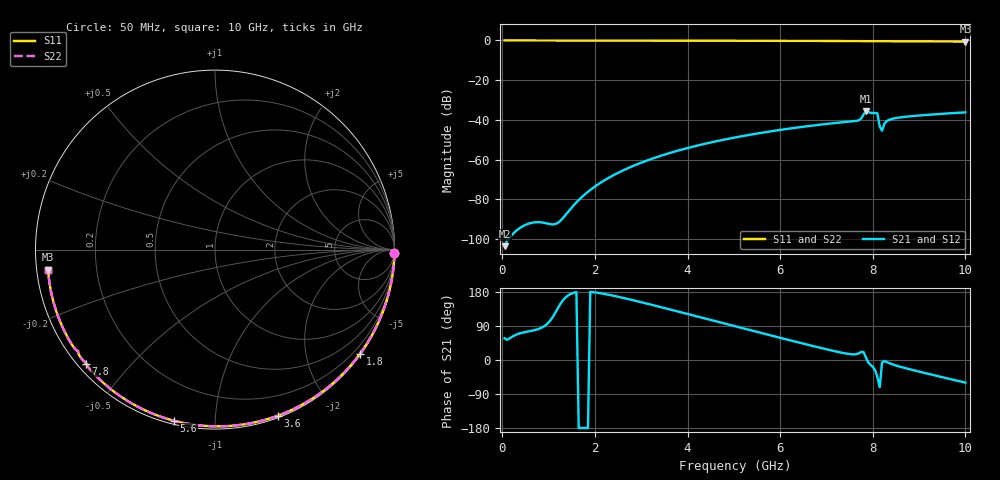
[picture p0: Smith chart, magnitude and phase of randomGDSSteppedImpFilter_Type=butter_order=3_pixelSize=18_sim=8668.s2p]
! freq	dB(S11)	phase(S11)	dB(S12)	phase(S12)
!  dB(S21)	phase(S21)	dB(S22)	phase(S22)
!S-par simulation data
#  GHz  S  DB  R 50
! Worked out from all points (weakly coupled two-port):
!   200 points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, 50 MHz to 10 GHz, reference 50 ohm
!   highest |S21| = -35.67 dB at 7.85 GHz (marker M1); lowest = -103.6 dB at 50 MHz (marker M2)
!   lowest |S11| = -0.6 dB at 10 GHz (marker M3), VSWR 30.66, Z = 1.64 - j3.01 ohm
!   |S11| at or under -10 dB: nowhere
!   |S22| runs from -0.6 to 0.0 dB; largest |S21 - S12| = 0
!   S11 on the Smith chart (normalised r, x): 50 MHz: open; 1.8 GHz: 0.03, -3.10; 3.6 GHz: 0.02, -1.45; 5.6 GHz: 0.02, -0.79; 7.8 GHz: 0.02, -0.38; 10 GHz: 0.03, -0.06
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0.05  -0.00 -1.0  -103.60 57.5  -103.60 57.5  -0.00 -1.0
0.8  -0.02 -16.1  -91.53 82.6  -91.53 82.6  -0.02 -16.1
1.65  -0.04 -32.8  -80.36 -180.0  -80.36 -180.0  -0.04 -32.8
1.75  -0.04 -34.8  -78.17 -179.3  -78.17 -179.3  -0.04 -34.8
1.8  -0.05 -35.7  -77.16 -179.4  -77.16 -179.4  -0.05 -35.7
2.5  -0.06 -49.1  -66.67 167.0  -66.67 167.0  -0.06 -49.1
3.4  -0.09 -65.7  -58.25 140.3  -58.25 140.3  -0.09 -65.7
3.6  -0.09 -69.3  -56.79 134.0  -56.79 134.0  -0.09 -69.3
5.05  -0.14 -94.4  -48.75 88.2  -48.75 88.2  -0.14 -94.4
5.6  -0.17 -103.4  -46.50 70.9  -46.50 70.9  -0.17 -103.4
6.7  -0.24 -121.1  -42.86 37.1  -42.86 37.1  -0.24 -121.1
7.65  -0.31 -136.1  -40.49 15.6  -40.49 15.6  -0.31 -136.1
7.75  -0.34 -137.8  -39.34 21.4  -39.34 21.4  -0.34 -137.7
7.8  -0.37 -138.5  -37.30 21.2  -37.30 21.2  -0.37 -138.5
7.85  -0.38 -139.1  -35.67 7.1  -35.67 7.1  -0.38 -139.1
8.1  -0.41 -143.2  -36.74 -45.3  -36.74 -45.3  -0.42 -143.2
8.15  -0.45 -143.5  -43.38 -71.5  -43.38 -71.5  -0.46 -143.5
8.2  -0.40 -144.1  -45.45 -6.6  -45.45 -6.6  -0.40 -144.1
8.25  -0.38 -145.0  -41.94 -2.7  -41.94 -2.7  -0.38 -145.0
8.35  -0.38 -146.6  -40.01 -8.1  -40.01 -8.1  -0.38 -146.6
8.75  -0.42 -153.0  -38.33 -22.9  -38.33 -22.9  -0.42 -153.0
10  -0.57 -173.1  -36.21 -59.7  -36.21 -59.7  -0.57 -173.1
